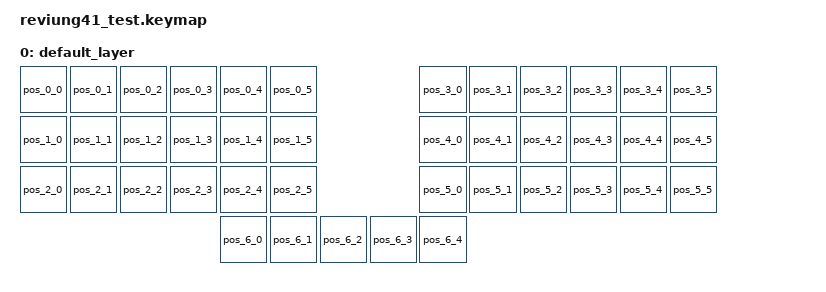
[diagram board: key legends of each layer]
/*
 * Reviung41 Test Keymap - Debug Physical Layout
 *
 * This keymap assigns each key a unique identifier so we can map
 * the physical layout to the matrix positions correctly.
 */

#include <behaviors.dtsi>
#include <dt-bindings/zmk/keys.h>

/ {
    macros {
        // Test macros for each position
        pos_0_0: pos_0_0 {
            label = "pos_0_0";
            compatible = "zmk,behavior-macro";
            wait-ms = <5>;
            tap-ms = <5>;
            #binding-cells = <0>;
            bindings = <&macro_tap &kp N0 &kp DOT &kp N0>;
        };

        pos_0_1: pos_0_1 {
            label = "pos_0_1";
            compatible = "zmk,behavior-macro";
            wait-ms = <5>;
            tap-ms = <5>;
            #binding-cells = <0>;
            bindings = <&macro_tap &kp N0 &kp DOT &kp N1>;
        };

        pos_0_2: pos_0_2 {
            label = "pos_0_2";
            compatible = "zmk,behavior-macro";
            wait-ms = <5>;
            tap-ms = <5>;
            #binding-cells = <0>;
            bindings = <&macro_tap &kp N0 &kp DOT &kp N2>;
        };

        pos_0_3: pos_0_3 {
            label = "pos_0_3";
            compatible = "zmk,behavior-macro";
            wait-ms = <5>;
            tap-ms = <5>;
            #binding-cells = <0>;
            bindings = <&macro_tap &kp N0 &kp DOT &kp N3>;
        };

        pos_0_4: pos_0_4 {
            label = "pos_0_4";
            compatible = "zmk,behavior-macro";
            wait-ms = <5>;
            tap-ms = <5>;
            #binding-cells = <0>;
            bindings = <&macro_tap &kp N0 &kp DOT &kp N4>;
        };

        pos_0_5: pos_0_5 {
            label = "pos_0_5";
            compatible = "zmk,behavior-macro";
            wait-ms = <5>;
            tap-ms = <5>;
            #binding-cells = <0>;
            bindings = <&macro_tap &kp N0 &kp DOT &kp N5>;
        };

        pos_1_0: pos_1_0 {
            label = "pos_1_0";
            compatible = "zmk,behavior-macro";
            wait-ms = <5>;
            tap-ms = <5>;
            #binding-cells = <0>;
            bindings = <&macro_tap &kp N1 &kp DOT &kp N0>;
        };

        pos_1_1: pos_1_1 {
            label = "pos_1_1";
            compatible = "zmk,behavior-macro";
            wait-ms = <5>;
            tap-ms = <5>;
            #binding-cells = <0>;
            bindings = <&macro_tap &kp N1 &kp DOT &kp N1>;
        };

        pos_1_2: pos_1_2 {
            label = "pos_1_2";
            compatible = "zmk,behavior-macro";
            wait-ms = <5>;
            tap-ms = <5>;
            #binding-cells = <0>;
            bindings = <&macro_tap &kp N1 &kp DOT &kp N2>;
        };

        pos_1_3: pos_1_3 {
            label = "pos_1_3";
            compatible = "zmk,behavior-macro";
            wait-ms = <5>;
            tap-ms = <5>;
            #binding-cells = <0>;
            bindings = <&macro_tap &kp N1 &kp DOT &kp N3>;
        };

        pos_1_4: pos_1_4 {
            label = "pos_1_4";
            compatible = "zmk,behavior-macro";
            wait-ms = <5>;
            tap-ms = <5>;
            #binding-cells = <0>;
            bindings = <&macro_tap &kp N1 &kp DOT &kp N4>;
        };

        pos_1_5: pos_1_5 {
            label = "pos_1_5";
            compatible = "zmk,behavior-macro";
            wait-ms = <5>;
            tap-ms = <5>;
            #binding-cells = <0>;
            bindings = <&macro_tap &kp N1 &kp DOT &kp N5>;
        };

        pos_2_0: pos_2_0 {
            label = "pos_2_0";
            compatible = "zmk,behavior-macro";
            wait-ms = <5>;
            tap-ms = <5>;
            #binding-cells = <0>;
            bindings = <&macro_tap &kp N2 &kp DOT &kp N0>;
        };

        pos_2_1: pos_2_1 {
            label = "pos_2_1";
            compatible = "zmk,behavior-macro";
            wait-ms = <5>;
            tap-ms = <5>;
            #binding-cells = <0>;
            bindings = <&macro_tap &kp N2 &kp DOT &kp N1>;
        };

        pos_2_2: pos_2_2 {
            label = "pos_2_2";
            compatible = "zmk,behavior-macro";
            wait-ms = <5>;
            tap-ms = <5>;
            #binding-cells = <0>;
            bindings = <&macro_tap &kp N2 &kp DOT &kp N2>;
        };

        pos_2_3: pos_2_3 {
            label = "pos_2_3";
            compatible = "zmk,behavior-macro";
            wait-ms = <5>;
            tap-ms = <5>;
            #binding-cells = <0>;
            bindings = <&macro_tap &kp N2 &kp DOT &kp N3>;
        };

        pos_2_4: pos_2_4 {
            label = "pos_2_4";
            compatible = "zmk,behavior-macro";
            wait-ms = <5>;
            tap-ms = <5>;
            #binding-cells = <0>;
            bindings = <&macro_tap &kp N2 &kp DOT &kp N4>;
        };

        pos_2_5: pos_2_5 {
            label = "pos_2_5";
            compatible = "zmk,behavior-macro";
            wait-ms = <5>;
            tap-ms = <5>;
            #binding-cells = <0>;
            bindings = <&macro_tap &kp N2 &kp DOT &kp N5>;
        };

        pos_3_0: pos_3_0 {
            label = "pos_3_0";
            compatible = "zmk,behavior-macro";
            wait-ms = <5>;
            tap-ms = <5>;
            #binding-cells = <0>;
            bindings = <&macro_tap &kp N3 &kp DOT &kp N0>;
        };

        pos_3_1: pos_3_1 {
            label = "pos_3_1";
            compatible = "zmk,behavior-macro";
            wait-ms = <5>;
            tap-ms = <5>;
            #binding-cells = <0>;
            bindings = <&macro_tap &kp N3 &kp DOT &kp N1>;
        };

        pos_3_2: pos_3_2 {
            label = "pos_3_2";
            compatible = "zmk,behavior-macro";
            wait-ms = <5>;
            tap-ms = <5>;
            #binding-cells = <0>;
            bindings = <&macro_tap &kp N3 &kp DOT &kp N2>;
        };

        pos_3_3: pos_3_3 {
            label = "pos_3_3";
            compatible = "zmk,behavior-macro";
            wait-ms = <5>;
            tap-ms = <5>;
            #binding-cells = <0>;
            bindings = <&macro_tap &kp N3 &kp DOT &kp N3>;
        };

        pos_3_4: pos_3_4 {
            label = "pos_3_4";
            compatible = "zmk,behavior-macro";
            wait-ms = <5>;
            tap-ms = <5>;
            #binding-cells = <0>;
            bindings = <&macro_tap &kp N3 &kp DOT &kp N4>;
        };

        pos_3_5: pos_3_5 {
            label = "pos_3_5";
            compatible = "zmk,behavior-macro";
            wait-ms = <5>;
            tap-ms = <5>;
            #binding-cells = <0>;
            bindings = <&macro_tap &kp N3 &kp DOT &kp N5>;
        };

        pos_4_0: pos_4_0 {
            label = "pos_4_0";
            compatible = "zmk,behavior-macro";
            wait-ms = <5>;
            tap-ms = <5>;
            #binding-cells = <0>;
            bindings = <&macro_tap &kp N4 &kp DOT &kp N0>;
        };

        pos_4_1: pos_4_1 {
            label = "pos_4_1";
            compatible = "zmk,behavior-macro";
            wait-ms = <5>;
            tap-ms = <5>;
            #binding-cells = <0>;
            bindings = <&macro_tap &kp N4 &kp DOT &kp N1>;
        };

        pos_4_2: pos_4_2 {
            label = "pos_4_2";
            compatible = "zmk,behavior-macro";
            wait-ms = <5>;
            tap-ms = <5>;
            #binding-cells = <0>;
            bindings = <&macro_tap &kp N4 &kp DOT &kp N2>;
        };

        pos_4_3: pos_4_3 {
            label = "pos_4_3";
            compatible = "zmk,behavior-macro";
            wait-ms = <5>;
            tap-ms = <5>;
            #binding-cells = <0>;
            bindings = <&macro_tap &kp N4 &kp DOT &kp N3>;
        };

        pos_4_4: pos_4_4 {
            label = "pos_4_4";
            compatible = "zmk,behavior-macro";
            wait-ms = <5>;
            tap-ms = <5>;
            #binding-cells = <0>;
            bindings = <&macro_tap &kp N4 &kp DOT &kp N4>;
        };

        pos_4_5: pos_4_5 {
            label = "pos_4_5";
            compatible = "zmk,behavior-macro";
            wait-ms = <5>;
            tap-ms = <5>;
            #binding-cells = <0>;
            bindings = <&macro_tap &kp N4 &kp DOT &kp N5>;
        };

        pos_5_0: pos_5_0 {
            label = "pos_5_0";
            compatible = "zmk,behavior-macro";
            wait-ms = <5>;
            tap-ms = <5>;
            #binding-cells = <0>;
            bindings = <&macro_tap &kp N5 &kp DOT &kp N0>;
        };

        pos_5_1: pos_5_1 {
            label = "pos_5_1";
            compatible = "zmk,behavior-macro";
            wait-ms = <5>;
            tap-ms = <5>;
            #binding-cells = <0>;
            bindings = <&macro_tap &kp N5 &kp DOT &kp N1>;
        };

        pos_5_2: pos_5_2 {
            label = "pos_5_2";
            compatible = "zmk,behavior-macro";
            wait-ms = <5>;
            tap-ms = <5>;
            #binding-cells = <0>;
            bindings = <&macro_tap &kp N5 &kp DOT &kp N2>;
        };

        pos_5_3: pos_5_3 {
            label = "pos_5_3";
            compatible = "zmk,behavior-macro";
            wait-ms = <5>;
            tap-ms = <5>;
            #binding-cells = <0>;
            bindings = <&macro_tap &kp N5 &kp DOT &kp N3>;
        };

        pos_5_4: pos_5_4 {
            label = "pos_5_4";
            compatible = "zmk,behavior-macro";
            wait-ms = <5>;
            tap-ms = <5>;
            #binding-cells = <0>;
            bindings = <&macro_tap &kp N5 &kp DOT &kp N4>;
        };

        pos_5_5: pos_5_5 {
            label = "pos_5_5";
            compatible = "zmk,behavior-macro";
            wait-ms = <5>;
            tap-ms = <5>;
            #binding-cells = <0>;
            bindings = <&macro_tap &kp N5 &kp DOT &kp N5>;
        };

        pos_6_0: pos_6_0 {
            label = "pos_6_0";
            compatible = "zmk,behavior-macro";
            wait-ms = <5>;
            tap-ms = <5>;
            #binding-cells = <0>;
            bindings = <&macro_tap &kp N6 &kp DOT &kp N0>;
        };

        pos_6_1: pos_6_1 {
            label = "pos_6_1";
            compatible = "zmk,behavior-macro";
            wait-ms = <5>;
            tap-ms = <5>;
            #binding-cells = <0>;
            bindings = <&macro_tap &kp N6 &kp DOT &kp N1>;
        };

        pos_6_2: pos_6_2 {
            label = "pos_6_2";
            compatible = "zmk,behavior-macro";
            wait-ms = <5>;
            tap-ms = <5>;
            #binding-cells = <0>;
            bindings = <&macro_tap &kp N6 &kp DOT &kp N2>;
        };

        pos_6_3: pos_6_3 {
            label = "pos_6_3";
            compatible = "zmk,behavior-macro";
            wait-ms = <5>;
            tap-ms = <5>;
            #binding-cells = <0>;
            bindings = <&macro_tap &kp N6 &kp DOT &kp N3>;
        };

        pos_6_4: pos_6_4 {
            label = "pos_6_4";
            compatible = "zmk,behavior-macro";
            wait-ms = <5>;
            tap-ms = <5>;
            #binding-cells = <0>;
            bindings = <&macro_tap &kp N6 &kp DOT &kp N4>;
        };
    };
};

/ {
    keymap {
        compatible = "zmk,keymap";

        default_layer {
            bindings = <
// Physical layout: Row 0 (left) | Row 0 (right)
     &pos_0_0    &pos_0_1    &pos_0_2    &pos_0_3    &pos_0_4    &pos_0_5                                &pos_3_0    &pos_3_1    &pos_3_2    &pos_3_3    &pos_3_4    &pos_3_5
// Physical layout: Row 1 (left) | Row 1 (right)
     &pos_1_0    &pos_1_1    &pos_1_2    &pos_1_3    &pos_1_4    &pos_1_5                                &pos_4_0    &pos_4_1    &pos_4_2    &pos_4_3    &pos_4_4    &pos_4_5
// Physical layout: Row 2 (left) | Row 2 (right)
     &pos_2_0    &pos_2_1    &pos_2_2    &pos_2_3    &pos_2_4    &pos_2_5                                &pos_5_0    &pos_5_1    &pos_5_2    &pos_5_3    &pos_5_4    &pos_5_5
// Physical layout: Row 6 (bottom row - 5 keys)
                                                &pos_6_0    &pos_6_1    &pos_6_2    &pos_6_3    &pos_6_4
            >;
        };
    };
};
